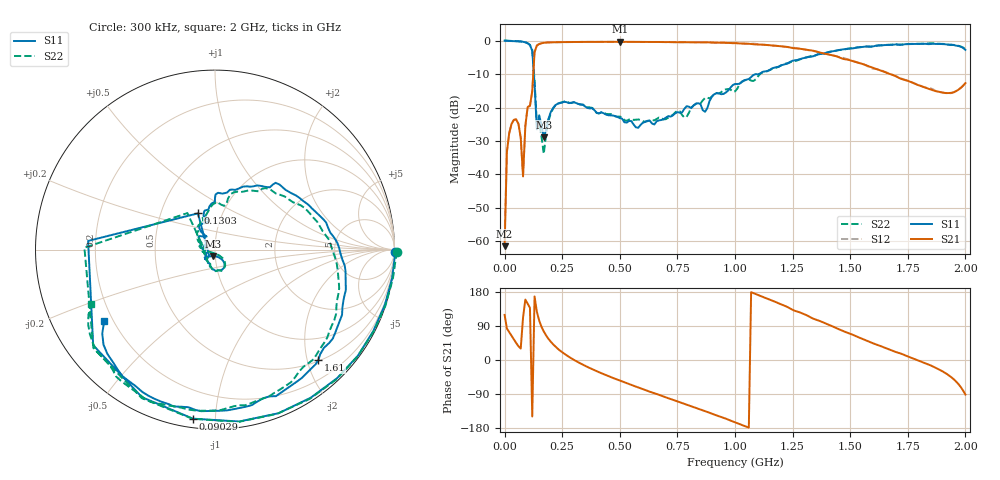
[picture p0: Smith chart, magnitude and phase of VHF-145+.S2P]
! Mini-Circuits
! S2P DATA File Format
! Type: High Pass Filter
! Model: VHF-145+
! Note: All S Parameters are in dB deg format
! TEST CONDITIONS: INPUT POWER = 0dBm @Temperature = +25degC
! 401 Frequency points
# Hz S dB R 50
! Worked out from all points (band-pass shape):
!   201 points, 300 kHz to 2 GHz, reference 50 ohm
!   highest |S21| = -0.30 dB at 500.2 MHz (marker M1); lowest = -61.6 dB at 300 kHz (marker M2)
!   |S21| within 3 dB of the highest: 130.7 MHz to 1.357 GHz (1.226 GHz wide, 165 % of centre)
!   lowest |S11| = -28.9 dB at 170.3 MHz (marker M3), VSWR 1.07, Z = 49 - j3.43 ohm
!   |S11| at or under -10 dB: 127.3 MHz to 1.089 GHz (962.2 MHz wide, 158 % of centre); 1.093 GHz to 1.102 GHz (8.53 MHz wide, 0.777 % of centre)
!   |S22| runs from -33.9 to 0.1 dB; largest |S21 - S12| = 0.029
!   S11 on the Smith chart (normalised r, x): 300 kHz: open; 90.29 MHz: 0.05, -0.88; 130.3 MHz: 0.77, +0.33; 1.61 GHz: 0.52, -2.20; 2 GHz: 0.17, -0.29
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300000  0.05 -0.6  -61.57 119.1  -58.77 110.4  0.11 -0.6
1.02985e7  -0.01 -9.2  -33.25 83.0  -33.25 82.6  0.04 -9.3
2.0297e7  -0.04 -18.0  -27.65 73.4  -27.73 72.8  -0.00 -18.2
6.0291e7  -0.15 -57.1  -24.92 36.5  -24.84 36.2  -0.13 -57.6
8.0288e7  -0.29 -82.0  -40.66 111.7  -40.50 110.3  -0.27 -82.4
9.02865e7  -0.45 -97.5  -25.52 159.4  -25.54 159.2  -0.44 -97.7
1.102835e8  -1.28 -141.9  -19.50 137.8  -19.48 136.8  -1.19 -141.0
1.20282e8  -2.99 176.1  -15.11 -149.0  -15.11 -149.4  -2.76 179.2
1.302805e8  -13.03 115.2  -3.38 167.8  -3.36 167.7  -11.87 127.1
1.40279e8  -26.55 -133.3  -1.42 127.4  -1.39 127.3  -24.95 -173.9
1.502775e8  -22.32 -136.3  -0.96 104.1  -0.95 104.1  -24.19 -160.6
1.702745e8  -28.89 -103.5  -0.60 75.3  -0.61 75.2  -33.92 -102.1
2.20267e8  -19.30 -60.6  -0.42 35.8  -0.42 35.8  -19.43 -58.2
3.40249e8  -19.12 -97.9  -0.33 -12.4  -0.32 -12.6  -19.18 -97.9
5.00225e8  -23.19 -142.1  -0.30 -54.3  -0.31 -54.4  -22.72 -129.2
6.701995e8  -23.86 163.5  -0.35 -91.9  -0.35 -92.1  -23.00 -171.1
1.00015e9  -12.94 104.6  -0.71 -164.3  -0.62 -164.8  -15.16 112.4
1.340099e9  -4.61 22.8  -2.98 109.0  -3.06 110.8  -4.46 12.5
1.610058e9  -1.49 -46.9  -8.36 41.7  -8.45 42.1  -1.51 -58.0
1.67005e9  -1.23 -60.8  -9.87 27.7  -9.80 27.7  -1.19 -72.1
1.860021e9  -0.88 -104.7  -14.85 -17.3  -14.55 -16.4  -0.73 -115.2
2e9  -2.70 -147.4  -12.68 -91.2  -12.68 -91.0  -2.47 -156.3
